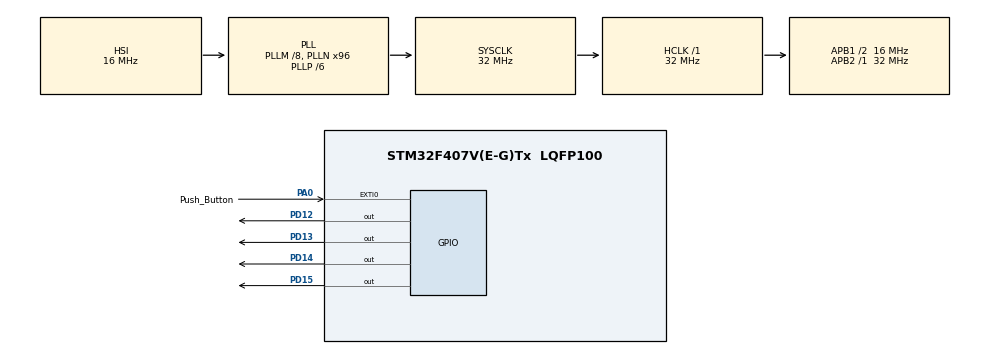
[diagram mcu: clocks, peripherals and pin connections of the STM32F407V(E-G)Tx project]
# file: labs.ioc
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Mcu.Family=STM32F4
Mcu.Name=STM32F407V(E-G)Tx
Mcu.Package=LQFP100
NVIC.PriorityGroup=NVIC_PRIORITYGROUP_4
PA0-WKUP.GPIO_Label=Push_Button
PA0-WKUP.Signal=GPXTI0
PA13.Mode=Serial_Wire
PA13.Signal=SYS_JTMS-SWDIO
PA14.Mode=Serial_Wire
PA14.Signal=SYS_JTCK-SWCLK
PD12.Signal=GPIO_Output
PD13.Signal=GPIO_Output
PD14.Signal=GPIO_Output
PD15.Signal=GPIO_Output
PH0-OSC_IN.Mode=HSE-External-Oscillator
PH0-OSC_IN.Signal=RCC_OSC_IN
PH1-OSC_OUT.Mode=HSE-External-Oscillator
PH1-OSC_OUT.Signal=RCC_OSC_OUT
ProjectManager.HeapSize=0x200
ProjectManager.StackSize=0x400
ProjectManager.TargetToolchain=STM32CubeIDE
RCC.48MHZClocksFreq_Value=48000000
RCC.AHBFreq_Value=32000000
RCC.APB1CLKDivider=RCC_HCLK_DIV2
RCC.APB1Freq_Value=16000000
RCC.APB1TimFreq_Value=32000000
RCC.APB2Freq_Value=32000000
RCC.APB2TimFreq_Value=32000000
RCC.CortexFreq_Value=32000000
RCC.HCLKFreq_Value=32000000
RCC.HSE_VALUE=8000000
RCC.HSI_VALUE=16000000
RCC.LSE_VALUE=32768
RCC.PLLM=8
RCC.PLLN=96
RCC.PLLP=RCC_PLLP_DIV6
RCC.SYSCLKFreq_VALUE=32000000
RCC.SYSCLKSource=RCC_SYSCLKSOURCE_PLLCLK
RCC.VCOOutputFreq_Value=192000000
TIM1.Period=1000
TIM1.Prescaler=32000
VP_TIM1_VS_ClockSourceINT.Mode=Internal
board=custom

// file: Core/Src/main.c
/* USER CODE BEGIN Header */
/**
  ******************************************************************************
  * @file           : main.c
  * @brief          : Main program body
  ******************************************************************************
  * @attention
  *
  * Copyright (c) 2024 STMicroelectronics.
  * All rights reserved.
  *
  * This software is licensed under terms that can be found in the LICENSE file
  * in the root directory of this software component.
  * If no LICENSE file comes with this software, it is provided AS-IS.
  *
  ******************************************************************************
  */
/* USER CODE END Header */
#include "main.h"
#include "stdbool.h"

TIM_HandleTypeDef htim1;

void SystemClock_Config(void);
static void MX_GPIO_Init(void);
static void MX_TIM1_Init(void);
/* USER CODE BEGIN PFP */
bool state = true;

uint8_t counter = 0;
/* USER CODE END PFP */

int main(void)
{

  /* MCU Configuration--------------------------------------------------------*/

  /* Reset of all peripherals, Initializes the Flash interface and the Systick. */
  HAL_Init();

  /* Configure the system clock */
  SystemClock_Config();

  /* Initialize all configured peripherals */
  MX_GPIO_Init();
  MX_TIM1_Init();

  /* Infinite loop */
  while (1)
  {

  }
}

void SystemClock_Config(void)
{
  RCC_OscInitTypeDef RCC_OscInitStruct = {0};
  RCC_ClkInitTypeDef RCC_ClkInitStruct = {0};

  /** Configure the main internal regulator output voltage
  */
  __HAL_RCC_PWR_CLK_ENABLE();
  __HAL_PWR_VOLTAGESCALING_CONFIG(PWR_REGULATOR_VOLTAGE_SCALE1);

  /** Initializes the RCC Oscillators according to the specified parameters
  * in the RCC_OscInitTypeDef structure.
  */
  RCC_OscInitStruct.OscillatorType = RCC_OSCILLATORTYPE_HSI;
  RCC_OscInitStruct.HSIState = RCC_HSI_ON;
  RCC_OscInitStruct.HSICalibrationValue = RCC_HSICALIBRATION_DEFAULT;
  RCC_OscInitStruct.PLL.PLLState = RCC_PLL_ON;
  RCC_OscInitStruct.PLL.PLLSource = RCC_PLLSOURCE_HSI;
  RCC_OscInitStruct.PLL.PLLM = 8;
  RCC_OscInitStruct.PLL.PLLN = 96;
  RCC_OscInitStruct.PLL.PLLP = RCC_PLLP_DIV6;
  RCC_OscInitStruct.PLL.PLLQ = 4;
  if (HAL_RCC_OscConfig(&RCC_OscInitStruct) != HAL_OK)
  {
    Error_Handler();
  }

  /** Initializes the CPU, AHB and APB buses clocks
  */
  RCC_ClkInitStruct.ClockType = RCC_CLOCKTYPE_HCLK|RCC_CLOCKTYPE_SYSCLK
                              |RCC_CLOCKTYPE_PCLK1|RCC_CLOCKTYPE_PCLK2;
  RCC_ClkInitStruct.SYSCLKSource = RCC_SYSCLKSOURCE_PLLCLK;
  RCC_ClkInitStruct.AHBCLKDivider = RCC_SYSCLK_DIV1;
  RCC_ClkInitStruct.APB1CLKDivider = RCC_HCLK_DIV2;
  RCC_ClkInitStruct.APB2CLKDivider = RCC_HCLK_DIV1;

  if (HAL_RCC_ClockConfig(&RCC_ClkInitStruct, FLASH_LATENCY_1) != HAL_OK)
  {
    Error_Handler();
  }
}

static void MX_TIM1_Init(void)
{

  TIM_ClockConfigTypeDef sClockSourceConfig = {0};
  TIM_MasterConfigTypeDef sMasterConfig = {0};

  htim1.Instance = TIM1;
  htim1.Init.Prescaler = 32000;
  htim1.Init.CounterMode = TIM_COUNTERMODE_UP;
  htim1.Init.Period = 1000;
  htim1.Init.ClockDivision = TIM_CLOCKDIVISION_DIV1;
  htim1.Init.RepetitionCounter = 0;
  htim1.Init.AutoReloadPreload = TIM_AUTORELOAD_PRELOAD_DISABLE;
  if (HAL_TIM_Base_Init(&htim1) != HAL_OK)
  {
    Error_Handler();
  }
  sClockSourceConfig.ClockSource = TIM_CLOCKSOURCE_INTERNAL;
  if (HAL_TIM_ConfigClockSource(&htim1, &sClockSourceConfig) != HAL_OK)
  {
    Error_Handler();
  }
  sMasterConfig.MasterOutputTrigger = TIM_TRGO_RESET;
  sMasterConfig.MasterSlaveMode = TIM_MASTERSLAVEMODE_DISABLE;
  if (HAL_TIMEx_MasterConfigSynchronization(&htim1, &sMasterConfig) != HAL_OK)
  {
    Error_Handler();
  }

}

static void MX_GPIO_Init(void)
{
  GPIO_InitTypeDef GPIO_InitStruct = {0};

  /* GPIO Ports Clock Enable */
  __HAL_RCC_GPIOH_CLK_ENABLE();
  __HAL_RCC_GPIOA_CLK_ENABLE();
  __HAL_RCC_GPIOD_CLK_ENABLE();

  /*Configure GPIO pin Output Level */
  HAL_GPIO_WritePin(GPIOD, GPIO_PIN_12|GPIO_PIN_13|GPIO_PIN_14|GPIO_PIN_15, GPIO_PIN_RESET);

  /*Configure GPIO pin : Push_Button_Pin */
  GPIO_InitStruct.Pin = Push_Button_Pin;
  GPIO_InitStruct.Mode = GPIO_MODE_IT_RISING;
  GPIO_InitStruct.Pull = GPIO_NOPULL;
  HAL_GPIO_Init(Push_Button_GPIO_Port, &GPIO_InitStruct);

  /*Configure GPIO pins : PD12 PD13 PD14 PD15 */
  GPIO_InitStruct.Pin = GPIO_PIN_12|GPIO_PIN_13|GPIO_PIN_14|GPIO_PIN_15;
  GPIO_InitStruct.Mode = GPIO_MODE_OUTPUT_PP;
  GPIO_InitStruct.Pull = GPIO_NOPULL;
  GPIO_InitStruct.Speed = GPIO_SPEED_FREQ_LOW;
  HAL_GPIO_Init(GPIOD, &GPIO_InitStruct);

}

/* USER CODE BEGIN 4 */
void HAL_GPIO_EXTI_Callback(uint16_t GPIO_Pin)
{
    if (GPIO_Pin == Push_Button_Pin && state == true) {
        HAL_TIM_Base_Start_IT(&htim1);
        state = false;
    } else {
        __NOP();
    }
}

void HAL_TIM_PeriodElapsedCallback(TIM_HandleTypeDef *htim)
{
    UNUSED(htim);
    if (HAL_GPIO_ReadPin(Push_Button_GPIO_Port, Push_Button_Pin) == GPIO_PIN_RESET) {
        HAL_GPIO_TogglePin(GPIOD, GPIO_PIN_12);
        counter = (counter + 1) % 4;
        HAL_GPIO_WritePin(GPIOD, GPIO_PIN_12, (counter == 0));
        HAL_GPIO_WritePin(GPIOD, GPIO_PIN_13, (counter == 1));
        HAL_GPIO_WritePin(GPIOD, GPIO_PIN_14, (counter == 2));
        HAL_GPIO_WritePin(GPIOD, GPIO_PIN_15, (counter == 3));

        state = true;
        HAL_TIM_Base_Stop_IT(&htim1);
    }
}
/* USER CODE END 4 */

void Error_Handler(void)
{
  __disable_irq();
  while (1)
  {
  }
}
